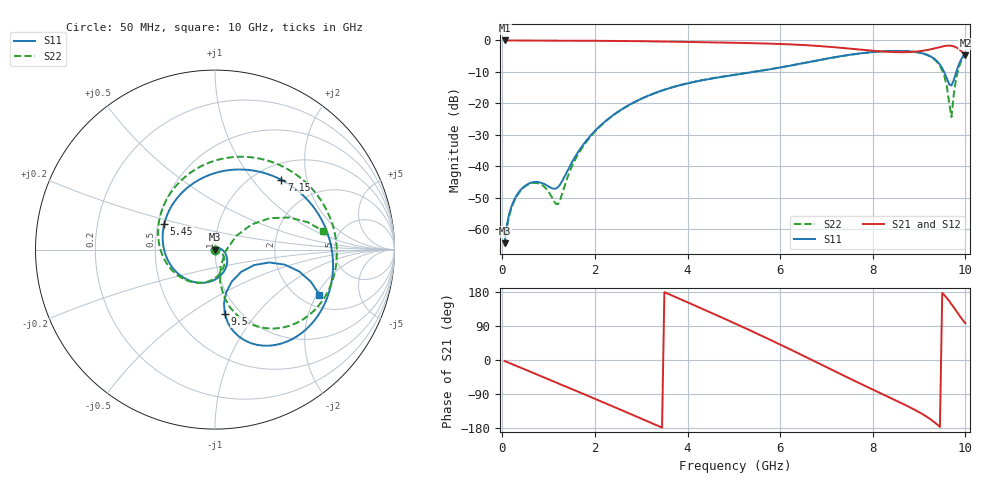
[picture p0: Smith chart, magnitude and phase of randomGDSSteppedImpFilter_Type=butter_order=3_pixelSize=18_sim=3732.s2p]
! freq	dB(S11)	phase(S11)	dB(S12)	phase(S12)
!  dB(S21)	phase(S21)	dB(S22)	phase(S22)
!S-par simulation data
#  GHz  S  DB  R 50
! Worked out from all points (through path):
!   200 points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, 50 MHz to 10 GHz, reference 50 ohm
!   highest |S21| = -0.01 dB at 50 MHz (marker M1); lowest = -4.7 dB at 10 GHz (marker M2)
!   group delay of S21, straight-line fit = 159 ps
!   lowest |S11| = -64.5 dB at 50 MHz (marker M3), VSWR 1.00, Z = 50 - j0.0593 ohm
!   |S11| at or under -10 dB: start of sweep to 5.444 GHz; 9.539 GHz to 9.804 GHz (264.5 MHz wide, 2.74 % of centre)
!   |S22| runs from -65.5 to -3.3 dB; largest |S21 - S12| = 0
!   S11 on the Smith chart (normalised r, x): 50 MHz: 1.00, -0.00; 5.45 GHz: 0.54, +0.17; 7.15 GHz: 1.30, +1.42; 9.5 GHz: 0.85, -0.70; 10 GHz: 2.51, -2.11
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0.05  -64.51 -86.1  -0.01 -2.6  -0.01 -2.6  -65.48 -85.5
0.15  -55.16 -98.0  -0.02 -7.7  -0.02 -7.7  -55.81 -96.7
0.4  -47.52 -117.5  -0.04 -20.4  -0.04 -20.4  -47.74 -107.6
0.8  -45.16 -154.2  -0.05 -40.8  -0.05 -40.8  -45.61 -118.5
1.2  -46.73 117.0  -0.07 -61.2  -0.07 -61.2  -52.12 -61.5
1.75  -33.12 22.5  -0.10 -89.4  -0.10 -89.4  -33.60 -12.7
2.5  -22.68 -29.3  -0.17 -128.3  -0.17 -128.3  -22.75 -44.5
3.4  -16.19 -82.3  -0.33 -175.7  -0.33 -175.7  -16.19 -88.0
4.15  -13.18 -126.3  -0.51 144.2  -0.51 144.2  -13.13 -124.8
5.05  -10.89 178.7  -0.75 95.0  -0.75 95.0  -10.83 -169.1
5.45  -9.99 153.2  -0.89 72.5  -0.89 72.5  -9.94 170.7
6.1  -8.35 111.4  -1.18 34.9  -1.18 34.9  -8.34 136.4
6.7  -6.64 73.6  -1.64 -0.8  -1.64 -0.8  -6.68 102.3
7.15  -5.40 46.4  -2.13 -27.9  -2.13 -27.9  -5.45 75.6
7.75  -4.08 12.0  -2.95 -63.5  -2.95 -63.5  -4.12 39.7
8.35  -3.37 -20.1  -3.64 -98.1  -3.64 -98.1  -3.40 4.6
9.05  -4.02 -57.5  -3.35 -141.2  -3.35 -141.2  -4.07 -38.4
9.5  -8.83 -81.3  -1.93 177.1  -1.93 177.1  -9.56 -75.5
9.6  -12.14 -75.5  -1.68 163.3  -1.68 163.3  -14.68 -81.0
9.7  -14.35 -40.4  -1.70 147.3  -1.70 147.3  -24.35 -5.7
9.8  -10.17 -13.3  -2.19 129.9  -2.19 129.9  -12.15 34.5
10  -3.97 -23.3  -4.75 96.8  -4.75 96.8  -4.25 9.7
